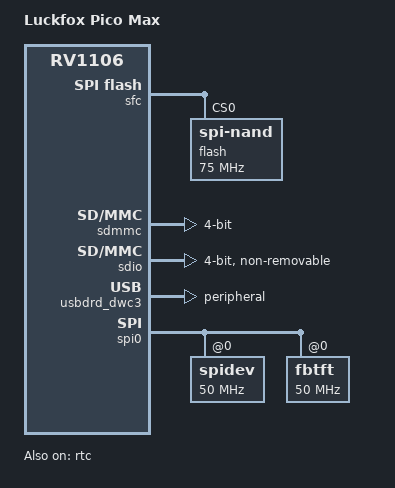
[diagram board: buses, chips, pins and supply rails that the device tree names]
// SPDX-License-Identifier: (GPL-2.0+ OR MIT)
/*
 * Copyright (c) 2022 Rockchip Electronics Co., Ltd.
 */

/dts-v1/;

#include "rv1106.dtsi"
#include "rv1106-evb.dtsi"
#include "rv1106-luckfox-pico-pro-max-ipc.dtsi"

/ {
	model = "Luckfox Pico Max";
	compatible = "rockchip,rv1103g-38x38-ipc-v10", "rockchip,rv1106";
};

/**********FLASH**********/
&sfc {
	status = "okay";
	flash@0 {
		compatible = "spi-nand";
		reg = <0>;
		spi-max-frequency = <75000000>;
		spi-rx-bus-width = <4>;
		spi-tx-bus-width = <1>;
	};
	
};

/**********SDMMC**********/
&sdmmc {
	max-frequency = <50000000>;
	no-sdio;
	no-mmc;
	bus-width = <4>;
	cap-mmc-highspeed;
	cap-sd-highspeed;
	disable-wp;
	pinctrl-names = "default";
	pinctrl-0 = <&sdmmc0_clk &sdmmc0_cmd &sdmmc0_det &sdmmc0_bus4>;
	status = "okay";
};

/***********mmc interface for wifi map to sdmmc1 set for sdio mode**********/
&sdio {
	max-frequency = <50000000>; // 最大运行频率不超过 150Mhz; SDIO2.0 卡最大 50M，SDIO3.0 最大支持 150M
	bus-width = <4>;             // 4线数据模式
	cap-sd-highspeed;            // 此配置同 SD 卡功能，作为 SDIO 外设，也有区分是否为 highspeed 的 SDIO 外设。
	cap-sdio-irq;                // 此配置标识该 SDIO 外设(通常是 Wifi)是否支持 sdio 中断
	keep-power-in-suspend;       // 此配置表示是否支持睡眠不断电，请默认加入该选项。Wifi 一般都有深度唤醒的要求。
	non-removable;               // 此项表示该插槽为不可移动设备且此项为 SDIO 设备必须添加项。
	sd-uhs-sdr50;         
	no-1-8-v;
	supports-sdio;         // 标识此插槽为 SDIO 功能，为必须添加项。否则无法初始化 SDIO 外设。
	pinctrl-names = "default";
	pinctrl-0 = <&sdmmc1m0_clk &sdmmc1m0_cmd &sdmmc1m0_bus4>; // rv1106-pinctrl.dtsi
	status = "okay";
};

/**********ETH**********/
&gmac {
	status = "disabled";
};

/**********USB**********/
&usbdrd_dwc3 {
	status = "okay";
	dr_mode = "peripheral";
};

/**********SPI**********/
&spi0 {
	status = "okay";
	spidev@0 {
		spi-max-frequency = <50000000>;
	};
  fbtft@0 {
		spi-max-frequency = <50000000>;
  };
};

/**********I2C**********/
/* I2C3_M1 */
&i2c3 {
	status = "disabled";
	clock-frequency = <100000>;
};

/* I2C1_M1 */
&i2c1 {
	status = "disabled";
	clock-frequency = <100000>;
};


/**********UART**********/
/* UART3_M1 */
&uart3 {
	status = "disabled";
};

/* UART4_M1 */
&uart4 {
	status = "disabled";
};

/**********RTC**********/
&rtc {
	status = "okay";
};
